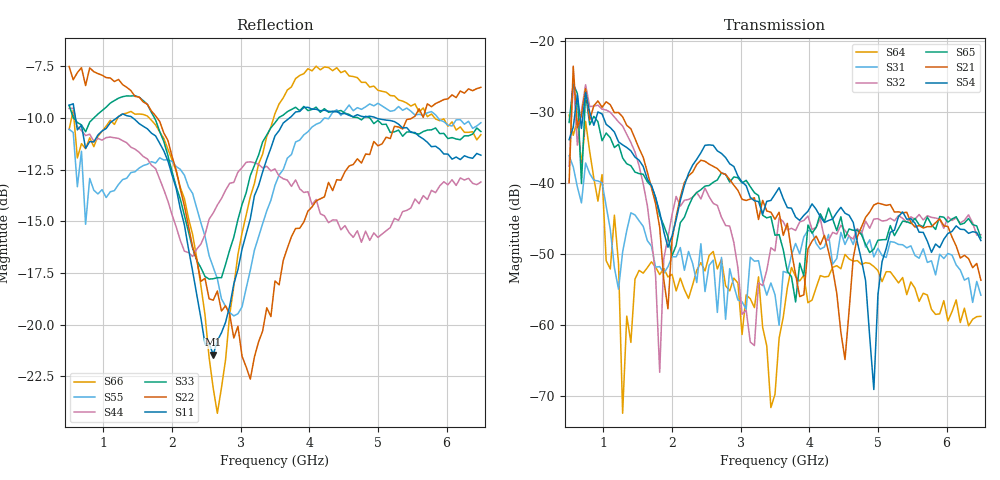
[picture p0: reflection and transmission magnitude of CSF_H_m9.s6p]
!Keysight Technologies,M9804A,MY58100912,A.14.10.03
!Date: Thursday, April 27, 2023 10:28:33
!Correction: S11(C  6-Port  )
!S12(C  6-Port  )
!S13(C  6-Port  )
!S14(C  6-Port  )
!S15(C  6-Port  )
!S16(C  6-Port  )
!S21(C  6-Port  )
!S22(C  6-Port  )
!S23(C  6-Port  )
!S24(C  6-Port  )
!S25(C  6-Port  )
!S26(C  6-Port  )
!S31(C  6-Port  )
!S32(C  6-Port  )
!S33(C  6-Port  )
!S34(C  6-Port  )
!S35(C  6-Port  )
!S36(C  6-Port  )
!S41(C  6-Port  )
!S42(C  6-Port  )
!S43(C  6-Port  )
!S44(C  6-Port  )
!S45(C  6-Port  )
!S46(C  6-Port  )
!S51(C  6-Port  )
!S52(C  6-Port  )
!S53(C  6-Port  )
!S54(C  6-Port  )
!S55(C  6-Port  )
!S56(C  6-Port  )
!S61(C  6-Port  )
!S62(C  6-Port  )
!S63(C  6-Port  )
!S64(C  6-Port  )
!S65(C  6-Port  )
!S66(C  6-Port  )
!S6P File: Measurement: :
# Hz S  RI  R 50
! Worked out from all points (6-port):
!   101 points, 500 MHz to 6.5 GHz, reference 50 ohm
!   strongest paths, dB at 500 MHz, 2 GHz, 3.5 GHz, 5 GHz, 6.5 GHz:
!     S54: -33.8, -47.4, -41.5, -55.7, -48.1
!     S21: -39.9, -47.9, -45.1, -42.8, -53.6
!     S65: -31.4, -50.2, -47.3, -48.0, -47.7
!     S32: -37.6, -44.4, -49.5, -45.0, -47.2
!     S31: -36.1, -50.3, -55.7, -49.2, -55.7
!     S64: -30.4, -52.8, -69.7, -52.3, -58.7
!   lowest |S11| = -21.5 dB at 2.6 GHz (marker M1), VSWR 1.18, Z = 42.5 + j2.16 ohm
!   |S11| at or under -10 dB: 592.7 MHz to 1.193 GHz (600 MHz wide, 67.2 % of centre); 1.429 GHz to 3.711 GHz (2.282 GHz wide, 88.8 % of centre); 4.974 GHz to end of sweep
